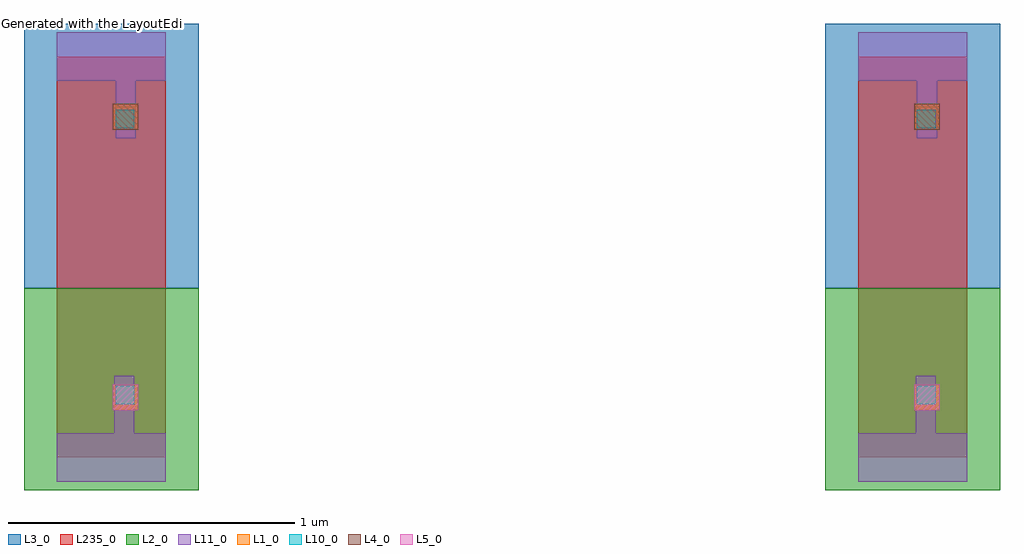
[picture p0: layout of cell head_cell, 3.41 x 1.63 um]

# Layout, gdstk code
import gdstk
lib = gdstk.Library(unit=1e-6, precision=1e-10)
def R(c, l, rs):  # rectangles x0, y0, x1, y1
    for r in rs: c.add(gdstk.rectangle(r[:2], r[2:], *l))
def P(c, l, *ps):  # polygons
    for p in ps: c.add(gdstk.Polygon(p, *l))
L1_0 = (1, 0)
L2_0 = (2, 0)
L3_0 = (3, 0)
L4_0 = (4, 0)
L5_0 = (5, 0)
L10_0 = (10, 0)
L11_0 = (11, 0)
L235_0 = (235, 0)

welltap_x1 = lib.new_cell('WELLTAP_X1')
R(welltap_x1, L1_0, [(0.195,0.165,0.285,0.255), (0.195,1.145,0.285,1.235)])
R(welltap_x1, L2_0, [(-0.115,-0.115,0.495,0.59)])
R(welltap_x1, L3_0, [(-0.115,0.59,0.495,1.515)])
R(welltap_x1, L4_0, [(0.195,1.145,0.285,1.235)])
R(welltap_x1, L5_0, [(0.195,0.165,0.285,0.255)])
R(welltap_x1, L10_0, [(0.205,0.185,0.27,0.25), (0.205,1.15,0.27,1.215)])
P(welltap_x1, L11_0, [(0,-0.085),(0.38,-0.085),(0.38,0.085),(0.27,0.085),(0.27,0.285),(0.2,0.285),(0.2,0.085),(0,0.085)],
  [(0,1.315),(0.205,1.315),(0.205,1.115),(0.275,1.115),(0.275,1.315),(0.38,1.315),(0.38,1.485),(0,1.485)])
R(welltap_x1, L235_0, [(0,0,0.38,1.4)])
welltap_x1.add(gdstk.Label('Generated with the LayoutEditor (This message will NOT added in any commercial version of the LayoutEditor.)', (-0.115,1.515), layer=3, texttype=13476))
welltap_x1.add(gdstk.Label('VDD', (0.19,1.485), layer=11, texttype=0))
welltap_x1.add(gdstk.Label('VSS', (0.19,-0.085), layer=11, texttype=0))
welltap_x1.add(gdstk.Label('& Vendor Nangate Inc', (0,0), layer=63, texttype=63))
welltap_x1.add(gdstk.Label('& Product Open Cell Library', (0,0), layer=63, texttype=63))
welltap_x1.add(gdstk.Label('& Version 2010_12', (0,0), layer=63, texttype=63))
welltap_x1.add(gdstk.Label('& Instance LOGIC0_X1', (0,0), layer=63, texttype=63))

head_cell = lib.new_cell('head_cell')
r = gdstk.Reference(welltap_x1, (-1.6,-0.5)); r.repetition = gdstk.Repetition(2, 2, v1=(2.8,0), v2=(0,0)); head_cell.add(r)
head_cell.add(gdstk.Label('Generated with the LayoutEditor (This message will NOT added in any commercial version of the LayoutEditor.)', (-1.715,1.015), layer=3, texttype=13476))

lib.write_gds('head_cell.gds')
